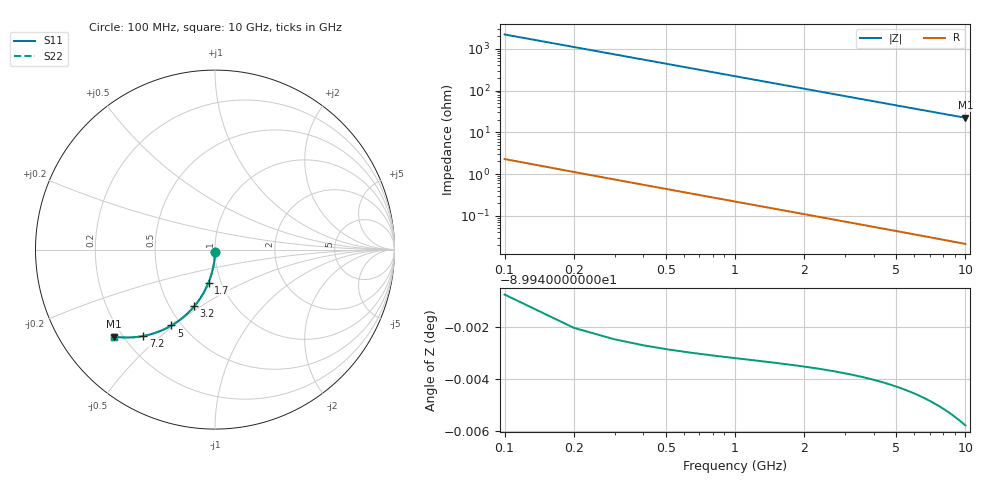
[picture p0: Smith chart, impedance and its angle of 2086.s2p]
# Hz S RI R 50.00
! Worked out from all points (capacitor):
!   100 points, 100 MHz to 10 GHz, reference 50 ohm
!   read as one part in shunt: C = 720 fF near 100 MHz
!   lowest |Z| = 22.3 ohm at 10 GHz (marker M1)
!   S11 on the Smith chart (normalised r, x): 100 MHz: 1.00, -0.02; 1.7 GHz: 0.87, -0.33; 3.2 GHz: 0.66, -0.47; 5 GHz: 0.44, -0.49; 7.2 GHz: 0.28, -0.44; 10 GHz: 0.17, -0.36
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1e8  -9.74e-05 -0.0112  0.9998 -0.0114  0.9998 -0.0114  -9.74e-05 -0.0112
2e8  -0.000492 -0.0224  0.9994 -0.0228  0.9994 -0.0228  -0.000492 -0.0224
3e8  -0.00114 -0.0336  0.9988 -0.0342  0.9988 -0.0342  -0.00114 -0.0336
4e8  -0.00204 -0.0447  0.9979 -0.0456  0.9979 -0.0456  -0.00204 -0.0447
5e8  -0.0032 -0.0558  0.9967 -0.0569  0.9967 -0.0569  -0.0032 -0.0558
6e8  -0.00461 -0.0669  0.9953 -0.0682  0.9953 -0.0682  -0.00461 -0.0669
8e8  -0.00816 -0.0888  0.9917 -0.0906  0.9917 -0.0906  -0.00816 -0.0888
9e8  -0.0103 -0.0997  0.9896 -0.1017  0.9896 -0.1017  -0.0103 -0.0997
1.1e9  -0.0153 -0.1213  0.9846 -0.1237  0.9846 -0.1237  -0.0153 -0.1213
1.4e9  -0.0246 -0.1529  0.9754 -0.1559  0.9754 -0.1559  -0.0246 -0.1529
1.7e9  -0.0358 -0.1835  0.9641 -0.1872  0.9641 -0.1872  -0.0358 -0.1835
1.8e9  -0.0399 -0.1934  0.96 -0.1974  0.96 -0.1974  -0.0399 -0.1934
2.4e9  -0.0688 -0.2501  0.9311 -0.2553  0.9311 -0.2553  -0.0688 -0.2501
3.2e9  -0.116 -0.3163  0.8839 -0.3233  0.8839 -0.3233  -0.116 -0.3163
3.4e9  -0.129 -0.3311  0.8708 -0.3386  0.8708 -0.3386  -0.129 -0.3311
4.2e9  -0.1844 -0.3827  0.8155 -0.392  0.8155 -0.392  -0.1844 -0.3827
5e9  -0.2426 -0.4227  0.7572 -0.4337  0.7572 -0.4337  -0.2426 -0.4227
5.1e9  -0.25 -0.4269  0.7498 -0.4382  0.7498 -0.4382  -0.25 -0.4269
6.7e9  -0.3653 -0.4736  0.6345 -0.4885  0.6345 -0.4885  -0.3653 -0.4736
7.2e9  -0.3994 -0.4813  0.6004 -0.4973  0.6004 -0.4973  -0.3994 -0.4813
8.4e9  -0.4753 -0.4895  0.5245 -0.5082  0.5245 -0.5082  -0.4753 -0.4895
1e10  -0.5624 -0.4844  0.4372 -0.5068  0.4372 -0.5068  -0.5624 -0.4844
